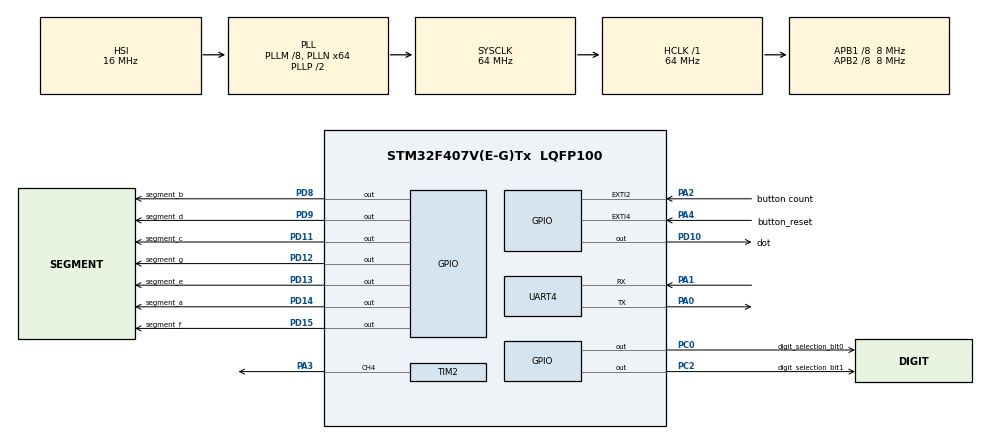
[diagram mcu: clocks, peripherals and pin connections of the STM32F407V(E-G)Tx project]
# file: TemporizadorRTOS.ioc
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FREERTOS.Tasks01=defaultTask,24,128,StartDefaultTask,Default,NULL,Dynamic,NULL,NULL
FREERTOS.configUSE_NEWLIB_REENTRANT=1
Mcu.Family=STM32F4
Mcu.Name=STM32F407V(E-G)Tx
Mcu.Package=LQFP100
NVIC.EXTI2_IRQn=true\:5\:0\:false\:false\:true\:true\:true\:true\:true
NVIC.EXTI4_IRQn=true\:5\:0\:false\:false\:true\:true\:true\:true\:true
NVIC.PriorityGroup=NVIC_PRIORITYGROUP_4
NVIC.TIM2_IRQn=true\:5\:0\:false\:false\:true\:true\:true\:true\:true
NVIC.TIM3_IRQn=true\:15\:0\:false\:false\:true\:false\:false\:true\:true
NVIC.TimeBase=TIM3_IRQn
NVIC.TimeBaseIP=TIM3
NVIC.UART4_IRQn=true\:5\:0\:false\:false\:true\:true\:true\:true\:true
PA0-WKUP.Mode=Asynchronous
PA0-WKUP.Signal=UART4_TX
PA1.Mode=Asynchronous
PA1.Signal=UART4_RX
PA2.GPIO_Label=button count
PA2.GPIO_ModeDefaultEXTI=GPIO_MODE_IT_FALLING
PA2.Signal=GPXTI2
PA3.Signal=S_TIM2_CH4
PA4.GPIO_Label=button_reset
PA4.GPIO_ModeDefaultEXTI=GPIO_MODE_IT_FALLING
PA4.Signal=GPXTI4
PC0.GPIO_Label=digit_selection_bit0
PC0.Signal=GPIO_Output
PC2.GPIO_Label=digit_selection_bit1
PC2.Signal=GPIO_Output
PD10.GPIO_Label=dot
PD10.Signal=GPIO_Output
PD11.GPIO_Label=segment_c
PD11.Signal=GPIO_Output
PD12.GPIO_Label=segment_g
PD12.Signal=GPIO_Output
PD13.GPIO_Label=segment_e
PD13.Signal=GPIO_Output
PD14.GPIO_Label=segment_a
PD14.Signal=GPIO_Output
PD15.GPIO_Label=segment_f
PD15.Signal=GPIO_Output
PD8.GPIO_Label=segment_b
PD8.Signal=GPIO_Output
PD9.GPIO_Label=segment_d
PD9.Signal=GPIO_Output
ProjectManager.HeapSize=0x200
ProjectManager.StackSize=0x400
ProjectManager.TargetToolchain=STM32CubeIDE
RCC.48MHZClocksFreq_Value=32000000
RCC.AHBFreq_Value=64000000
RCC.APB1CLKDivider=RCC_HCLK_DIV8
RCC.APB1Freq_Value=8000000
RCC.APB1TimFreq_Value=16000000
RCC.APB2CLKDivider=RCC_HCLK_DIV8
RCC.APB2Freq_Value=8000000
RCC.APB2TimFreq_Value=16000000
RCC.CortexFreq_Value=64000000
RCC.HCLKFreq_Value=64000000
RCC.HSE_VALUE=25000000
RCC.HSI_VALUE=16000000
RCC.LSE_VALUE=32768
RCC.PLLM=8
RCC.PLLN=64
RCC.SYSCLKFreq_VALUE=64000000
RCC.SYSCLKSource=RCC_SYSCLKSOURCE_PLLCLK
RCC.VCOOutputFreq_Value=128000000
SH.S_TIM2_CH4.0=TIM2_CH4,PWM Generation4 CH4
TIM2.Channel-PWM\ Generation4\ CH4=TIM_CHANNEL_4
TIM2.Period=7999
TIM2.Prescaler=0
TIM2.Pulse-PWM\ Generation4\ CH4=4000
UART4.VirtualMode=Asynchronous
VP_FREERTOS_VS_CMSIS_V2.Mode=CMSIS_V2
VP_SYS_VS_tim3.Mode=TIM3
VP_TIM2_VS_ClockSourceINT.Mode=Internal
board=custom

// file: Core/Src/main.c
/* USER CODE BEGIN Header */
/**
  ******************************************************************************
  * @file           : main.c
  * @brief          : Main program body
  ******************************************************************************
  * @attention
  *
  * Copyright (c) 2026 STMicroelectronics.
  * All rights reserved.
  *
  * This software is licensed under terms that can be found in the LICENSE file
  * in the root directory of this software component.
  * If no LICENSE file comes with this software, it is provided AS-IS.
  *
  ******************************************************************************
  */
/* USER CODE END Header */
#include "main.h"
#include "cmsis_os.h"

/* USER CODE BEGIN Includes */
#include <string.h>
#include "tasks.h"
/* USER CODE END Includes */

TIM_HandleTypeDef htim2;

UART_HandleTypeDef huart4;

/* Definitions for defaultTask */
osThreadId_t defaultTaskHandle;
const osThreadAttr_t defaultTask_attributes = {
  .name = "defaultTask",
  .stack_size = 128 * 4,
  .priority = (osPriority_t) osPriorityNormal,
};
/* USER CODE BEGIN PV */

osThreadId_t refreshTimerTask;
osThreadId_t displayShowDigitTask;
osThreadId_t resetPressedTask;
osThreadId_t countPressedTask;
osThreadId_t processInputTask;

osSemaphoreId_t countPressedSemaphore;
osSemaphoreId_t resetPressedSemaphore;

const osThreadAttr_t refreshTimer_attributes = {
  .name = "refreshTimerTask",
  .stack_size = 128 * 10,
  .priority = (osPriority_t) osPriorityHigh1,
};

const osThreadAttr_t displayShowDigit_attributes = {
  .name = "displayShowDigitTask",
  .stack_size = 128 * 10,
  .priority = (osPriority_t) osPriorityNormal1,
};

const osThreadAttr_t countPressed_attributes = {
  .name = "countPressedTask",
  .stack_size = 128 * 10,
  .priority = (osPriority_t) osPriorityHigh4,
};

const osThreadAttr_t resetPressed_attributes = {
  .name = "resetPressedTask",
  .stack_size = 128 * 10,
  .priority = (osPriority_t) osPriorityHigh4,
};

const osThreadAttr_t processInput_attributes = {
  .name = "processInputTask",
  .stack_size = 128 * 10,
  .priority = (osPriority_t) osPriorityHigh2,
};

Display display;
Timer timer;
Button count;
Button reset;
Buzzer buzzer;
Comunication comunication;

/* USER CODE END PV */

void SystemClock_Config(void);
static void MX_GPIO_Init(void);
static void MX_UART4_Init(void);
static void MX_TIM2_Init(void);
void StartDefaultTask(void *argument);

int main(void)
{

  /* MCU Configuration--------------------------------------------------------*/

  /* Reset of all peripherals, Initializes the Flash interface and the Systick. */
  HAL_Init();

  /* Configure the system clock */
  SystemClock_Config();

  /* USER CODE BEGIN SysInit */

	// Initialize software structures and state machines
	timer = timer_new(10*1000);
	display = display_new();
	count = button_new(button_count_GPIO_Port, button_count_Pin);
	reset = button_new(button_reset_GPIO_Port, button_reset_Pin);
	buzzer = buzzer_new(&htim2, TIM_CHANNEL_4);
	comunication = comunication_new(&huart4);

  /* USER CODE END SysInit */

  /* Initialize all configured peripherals */
  MX_GPIO_Init();
  MX_UART4_Init();
  MX_TIM2_Init();
  /* USER CODE BEGIN 2 */

  comunication_ready(&comunication);
  comunication_send(&comunication, "CONNECTED\n");

  /* USER CODE END 2 */

  /* Init scheduler */
  osKernelInitialize();

  /* Create the thread(s) */
  /* creation of defaultTask */
  defaultTaskHandle = osThreadNew(StartDefaultTask, NULL, &defaultTask_attributes);

  /* USER CODE BEGIN RTOS_THREADS */

  refreshTimerTask = osThreadNew(refreshTimer, NULL, &refreshTimer_attributes);
  displayShowDigitTask = osThreadNew(displayShowDigit, NULL, &displayShowDigit_attributes);

  // Semaforo binario para boton
  countPressedSemaphore = osSemaphoreNew(1, 0, NULL);
  resetPressedSemaphore = osSemaphoreNew(1, 0, NULL);

  countPressedTask = osThreadNew(countPressed, NULL, &countPressed_attributes);
  resetPressedTask = osThreadNew(resetPressed, NULL, &resetPressed_attributes);

  processInputTask = osThreadNew(processInput, NULL, &processInput_attributes);

  /* USER CODE END RTOS_THREADS */

  /* Start scheduler */
  osKernelStart();

  /* We should never get here as control is now taken by the scheduler */

  /* Infinite loop */
  while (1)
  {

  }
}

void SystemClock_Config(void)
{
  RCC_OscInitTypeDef RCC_OscInitStruct = {0};
  RCC_ClkInitTypeDef RCC_ClkInitStruct = {0};

  /** Configure the main internal regulator output voltage
  */
  __HAL_RCC_PWR_CLK_ENABLE();
  __HAL_PWR_VOLTAGESCALING_CONFIG(PWR_REGULATOR_VOLTAGE_SCALE1);

  /** Initializes the RCC Oscillators according to the specified parameters
  * in the RCC_OscInitTypeDef structure.
  */
  RCC_OscInitStruct.OscillatorType = RCC_OSCILLATORTYPE_HSI;
  RCC_OscInitStruct.HSIState = RCC_HSI_ON;
  RCC_OscInitStruct.HSICalibrationValue = RCC_HSICALIBRATION_DEFAULT;
  RCC_OscInitStruct.PLL.PLLState = RCC_PLL_ON;
  RCC_OscInitStruct.PLL.PLLSource = RCC_PLLSOURCE_HSI;
  RCC_OscInitStruct.PLL.PLLM = 8;
  RCC_OscInitStruct.PLL.PLLN = 64;
  RCC_OscInitStruct.PLL.PLLP = RCC_PLLP_DIV2;
  RCC_OscInitStruct.PLL.PLLQ = 4;
  if (HAL_RCC_OscConfig(&RCC_OscInitStruct) != HAL_OK)
  {
    Error_Handler();
  }

  /** Initializes the CPU, AHB and APB buses clocks
  */
  RCC_ClkInitStruct.ClockType = RCC_CLOCKTYPE_HCLK|RCC_CLOCKTYPE_SYSCLK
                              |RCC_CLOCKTYPE_PCLK1|RCC_CLOCKTYPE_PCLK2;
  RCC_ClkInitStruct.SYSCLKSource = RCC_SYSCLKSOURCE_PLLCLK;
  RCC_ClkInitStruct.AHBCLKDivider = RCC_SYSCLK_DIV1;
  RCC_ClkInitStruct.APB1CLKDivider = RCC_HCLK_DIV8;
  RCC_ClkInitStruct.APB2CLKDivider = RCC_HCLK_DIV8;

  if (HAL_RCC_ClockConfig(&RCC_ClkInitStruct, FLASH_LATENCY_2) != HAL_OK)
  {
    Error_Handler();
  }
}

static void MX_TIM2_Init(void)
{

  TIM_ClockConfigTypeDef sClockSourceConfig = {0};
  TIM_MasterConfigTypeDef sMasterConfig = {0};
  TIM_OC_InitTypeDef sConfigOC = {0};

  htim2.Instance = TIM2;
  htim2.Init.Prescaler = 0;
  htim2.Init.CounterMode = TIM_COUNTERMODE_UP;
  htim2.Init.Period = 7999;
  htim2.Init.ClockDivision = TIM_CLOCKDIVISION_DIV1;
  htim2.Init.AutoReloadPreload = TIM_AUTORELOAD_PRELOAD_DISABLE;
  if (HAL_TIM_Base_Init(&htim2) != HAL_OK)
  {
    Error_Handler();
  }
  sClockSourceConfig.ClockSource = TIM_CLOCKSOURCE_INTERNAL;
  if (HAL_TIM_ConfigClockSource(&htim2, &sClockSourceConfig) != HAL_OK)
  {
    Error_Handler();
  }
  if (HAL_TIM_PWM_Init(&htim2) != HAL_OK)
  {
    Error_Handler();
  }
  sMasterConfig.MasterOutputTrigger = TIM_TRGO_RESET;
  sMasterConfig.MasterSlaveMode = TIM_MASTERSLAVEMODE_DISABLE;
  if (HAL_TIMEx_MasterConfigSynchronization(&htim2, &sMasterConfig) != HAL_OK)
  {
    Error_Handler();
  }
  sConfigOC.OCMode = TIM_OCMODE_PWM1;
  sConfigOC.Pulse = 4000;
  sConfigOC.OCPolarity = TIM_OCPOLARITY_HIGH;
  sConfigOC.OCFastMode = TIM_OCFAST_DISABLE;
  if (HAL_TIM_PWM_ConfigChannel(&htim2, &sConfigOC, TIM_CHANNEL_4) != HAL_OK)
  {
    Error_Handler();
  }
  HAL_TIM_MspPostInit(&htim2);

}

static void MX_UART4_Init(void)
{

  huart4.Instance = UART4;
  huart4.Init.BaudRate = 115200;
  huart4.Init.WordLength = UART_WORDLENGTH_8B;
  huart4.Init.StopBits = UART_STOPBITS_1;
  huart4.Init.Parity = UART_PARITY_NONE;
  huart4.Init.Mode = UART_MODE_TX_RX;
  huart4.Init.HwFlowCtl = UART_HWCONTROL_NONE;
  huart4.Init.OverSampling = UART_OVERSAMPLING_16;
  if (HAL_UART_Init(&huart4) != HAL_OK)
  {
    Error_Handler();
  }

}

static void MX_GPIO_Init(void)
{
  GPIO_InitTypeDef GPIO_InitStruct = {0};

  /* GPIO Ports Clock Enable */
  __HAL_RCC_GPIOC_CLK_ENABLE();
  __HAL_RCC_GPIOA_CLK_ENABLE();
  __HAL_RCC_GPIOD_CLK_ENABLE();

  /*Configure GPIO pin Output Level */
  HAL_GPIO_WritePin(GPIOC, digit_selection_bit0_Pin|digit_selection_bit1_Pin, GPIO_PIN_RESET);

  /*Configure GPIO pin Output Level */
  HAL_GPIO_WritePin(GPIOD, segment_b_Pin|segment_d_Pin|dot_Pin|segment_c_Pin
                          |segment_g_Pin|segment_e_Pin|segment_a_Pin|segment_f_Pin, GPIO_PIN_RESET);

  /*Configure GPIO pins : digit_selection_bit0_Pin digit_selection_bit1_Pin */
  GPIO_InitStruct.Pin = digit_selection_bit0_Pin|digit_selection_bit1_Pin;
  GPIO_InitStruct.Mode = GPIO_MODE_OUTPUT_PP;
  GPIO_InitStruct.Pull = GPIO_NOPULL;
  GPIO_InitStruct.Speed = GPIO_SPEED_FREQ_LOW;
  HAL_GPIO_Init(GPIOC, &GPIO_InitStruct);

  /*Configure GPIO pins : button_count_Pin button_reset_Pin */
  GPIO_InitStruct.Pin = button_count_Pin|button_reset_Pin;
  GPIO_InitStruct.Mode = GPIO_MODE_IT_FALLING;
  GPIO_InitStruct.Pull = GPIO_NOPULL;
  HAL_GPIO_Init(GPIOA, &GPIO_InitStruct);

  /*Configure GPIO pins : segment_b_Pin segment_d_Pin dot_Pin segment_c_Pin
                           segment_g_Pin segment_e_Pin segment_a_Pin segment_f_Pin */
  GPIO_InitStruct.Pin = segment_b_Pin|segment_d_Pin|dot_Pin|segment_c_Pin
                          |segment_g_Pin|segment_e_Pin|segment_a_Pin|segment_f_Pin;
  GPIO_InitStruct.Mode = GPIO_MODE_OUTPUT_PP;
  GPIO_InitStruct.Pull = GPIO_NOPULL;
  GPIO_InitStruct.Speed = GPIO_SPEED_FREQ_LOW;
  HAL_GPIO_Init(GPIOD, &GPIO_InitStruct);

  /* EXTI interrupt init*/
  HAL_NVIC_SetPriority(EXTI2_IRQn, 5, 0);
  HAL_NVIC_EnableIRQ(EXTI2_IRQn);

  HAL_NVIC_SetPriority(EXTI4_IRQn, 5, 0);
  HAL_NVIC_EnableIRQ(EXTI4_IRQn);

}

/* USER CODE BEGIN 4 */
void HAL_GPIO_EXTI_Callback(uint16_t GPIO_Pin)
{
	if(GPIO_Pin == count.input_pin.pin)
	{
		osSemaphoreRelease(countPressedSemaphore);
	}
	else if(GPIO_Pin == reset.input_pin.pin)
	{
		osSemaphoreRelease(resetPressedSemaphore);
	}
}

void HAL_UART_RxCpltCallback(UART_HandleTypeDef *huart)
{
    if (huart->Instance == UART4)
    {
        BaseType_t xHigherPriorityTaskWoken = pdFALSE;

        // 1. Guardar el byte (pasamos el puntero de xHigherPriorityTaskWoken)
        comunication_store_byte_isr(&comunication, &xHigherPriorityTaskWoken);

        // 2. Preparar el periférico para recibir el siguiente byte
        comunication_ready(&comunication);

        // 3. Evaluar si es necesario cambiar de contexto al salir
        portYIELD_FROM_ISR(xHigherPriorityTaskWoken);
    }
}

/* USER CODE END 4 */

void StartDefaultTask(void *argument)
{
  for(;;)
  {
    osDelay(1);
  }
}

void HAL_TIM_PeriodElapsedCallback(TIM_HandleTypeDef *htim)
{
  if (htim->Instance == TIM3)
  {
    HAL_IncTick();
  }
}

void Error_Handler(void)
{
  __disable_irq();
  while (1)
  {
  }
}
